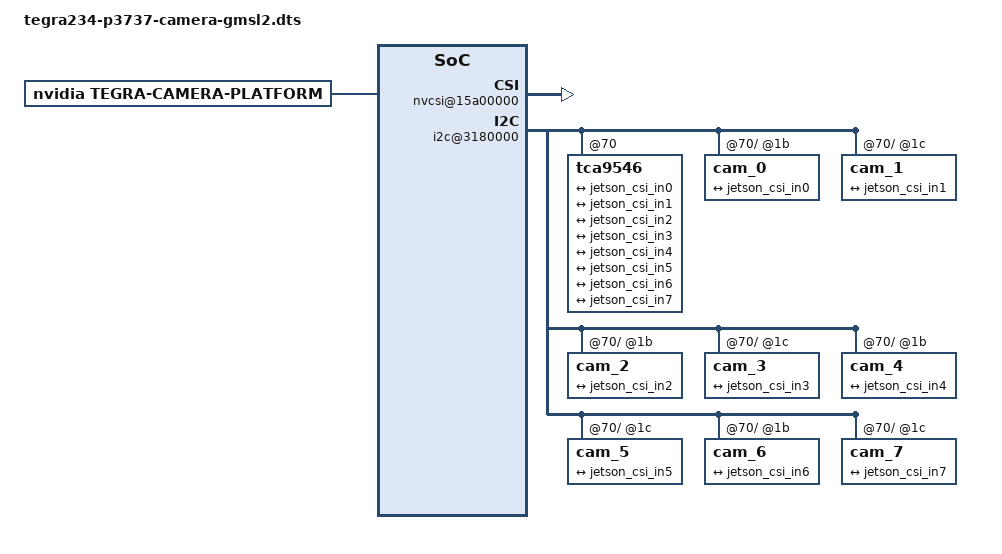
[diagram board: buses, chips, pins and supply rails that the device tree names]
// SPDX-License-Identifier: GPL-2.0-only
// Copyright (c) 2018-2023, NVIDIA CORPORATION & AFFILIATES. All rights reserved.

/dts-v1/;
/plugin/;

#include <dt-bindings/clock/tegra234-clock.h>
#include <dt-bindings/gpio/tegra234-gpio.h>

#define CAM_VDD_SYS_EN	TEGRA234_MAIN_GPIO(AC, 7)
#define DES_0_RESET		TEGRA234_MAIN_GPIO(H, 6)
#define DES_1_RESET		TEGRA234_MAIN_GPIO(H, 3)
#define DES_3_RESET		TEGRA234_MAIN_GPIO(AC, 1)
#define DES_2_RESET		TEGRA234_MAIN_GPIO(AC, 0)
#define CAMERA_I2C_MUX_BUS(x) (0x1E + x)

#define CAM0_RST_L	TEGRA234_MAIN_GPIO(H, 3)

/* camera control gpio definitions */
/ {
	//overlay-name = "Jetson Camera IMX390";
	overlay-name = "Jetson Camera";
	//jetson-header-name = "Jetson AGX CSI Connector";
	compatible = "nvidia,p3737-0000+p3701-0000", "nvidia,p3737-0000+p3701-0004", "nvidia,p3737-0000+p3701-0005";

	fragment@0 {
		target-path = "/";

		__overlay__ {
			tegra-capture-vi {
				num-channels = <8>;
				ports {
					status = "okay";
					#address-cells = <1>;
		        	#size-cells = <0>;
					port@0 {
						status = "okay";
						reg = <0>;
						jetson_vi_in0: endpoint {
							status = "okay";
							vc-id = <1>;
							port-index = <0>;
							bus-width = <4>;
							remote-endpoint = <&jetson_csi_out0>;
						};
					};
					port@1 {
						status = "okay";
						reg = <1>;
						jetson_vi_in1: endpoint {
							status = "okay";
							vc-id = <2>;
							port-index = <0>;
							bus-width = <4>;
							remote-endpoint = <&jetson_csi_out1>;
						};
					};
					port@2 {
						status = "okay";
						reg = <2>;
						jetson_vi_in2: endpoint {
							status = "okay";
							vc-id = <1>;
							port-index = <2>;
							bus-width = <4>;
							remote-endpoint = <&jetson_csi_out2>;
						};
					};
					port@3 {
						status = "okay";
						reg = <3>;
						jetson_vi_in3: endpoint {
							status = "okay";
							vc-id = <2>;
							port-index = <2>;
							bus-width = <4>;
							remote-endpoint = <&jetson_csi_out3>;
						};
					};
					port@4 {
						status = "okay";
						reg = <4>;
						jetson_vi_in4: endpoint {
							status = "okay";
							vc-id = <1>;
							port-index = <4>;
							bus-width = <4>;
							remote-endpoint = <&jetson_csi_out4>;
						};
					};
					port@5 {
						status = "okay";
						reg = <5>;
						jetson_vi_in5: endpoint {
							status = "okay";
							vc-id = <2>;
							port-index = <4>;
							bus-width = <4>;
							remote-endpoint = <&jetson_csi_out5>;
						};
					};
					port@6 {
						status = "okay";
						reg = <6>;
						jetson_vi_in6: endpoint {
							status = "okay";
							vc-id = <1>;
							port-index = <5>;
							bus-width = <4>;
							remote-endpoint = <&jetson_csi_out6>;
						};
					};
					port@7 {
						status = "okay";
						reg = <7>;
						jetson_vi_in7: endpoint {
							status = "okay";
							vc-id = <2>;
							port-index = <5>;
							bus-width = <4>;
							remote-endpoint = <&jetson_csi_out7>;
						};
					};
				};
			};
			bus@0{
				host1x@13e00000 {
					status = "okay";
					nvcsi@15a00000 {
						status = "okay";
						num-channels = <8>;
						#address-cells = <1>;
		        		#size-cells = <0>;
						channel@0 {
							status = "okay";
							reg = <0>;
							ports {
								status = "okay";
								#address-cells = <1>;
								#size-cells = <0>;
								port@0 {
									status = "okay";
									reg = <0>;
									jetson_csi_in0: endpoint@0 {
										status = "okay";
										port-index = <0>;
										bus-width = <4>;
										remote-endpoint = <&sensor_out0>;
									};
								};
								port@1 {
									status = "okay";
									reg = <1>;
									jetson_csi_out0: endpoint@1 {
										status = "okay";
										remote-endpoint = <&jetson_vi_in0>;
									};
								};
							};
						};
						channel@1 {
							status = "okay";
							reg = <1>;
							ports {
								status = "okay";
								#address-cells = <1>;
								#size-cells = <0>;
								port@0 {
									status = "okay";
									reg = <0>;
									jetson_csi_in1: endpoint@2 {
										status = "okay";
										port-index = <0>;
										bus-width = <4>;
										remote-endpoint = <&sensor_out1>;
									};
								};
								port@1 {
									status = "okay";
									reg = <1>;
									jetson_csi_out1: endpoint@3 {
										status = "okay";
										remote-endpoint = <&jetson_vi_in1>;
									};
								};
							};
						};
						channel@2 {
							status = "okay";
							reg = <2>;
							ports {
								status = "okay";
								#address-cells = <1>;
								#size-cells = <0>;
								port@0 {
									status = "okay";
									reg = <0>;
									jetson_csi_in2: endpoint@4 {
										status = "okay";
										port-index = <2>;
										bus-width = <4>;
										remote-endpoint = <&sensor_out2>;
									};
								};
								port@1 {
									status = "okay";
									reg = <1>;
									jetson_csi_out2: endpoint@5 {
										status = "okay";
										remote-endpoint = <&jetson_vi_in2>;
									};
								};
							};
						};
						channel@3 {
							status = "okay";
							reg = <3>;
							ports {
								status = "okay";
								#address-cells = <1>;
								#size-cells = <0>;
								port@0 {
									status = "okay";
									reg = <0>;
									jetson_csi_in3: endpoint@6 {
										status = "okay";
										port-index = <2>;
										bus-width = <4>;
										remote-endpoint = <&sensor_out3>;
									};
								};
								port@1 {
									status = "okay";
									reg = <1>;
									jetson_csi_out3: endpoint@7 {
										status = "okay";
										remote-endpoint = <&jetson_vi_in3>;
									};
								};
							};
						};
						channel@4 {
							status = "okay";
							reg = <4>;
							ports {
								status = "okay";
								#address-cells = <1>;
								#size-cells = <0>;
								port@0 {
									status = "okay";
									reg = <0>;
									jetson_csi_in4: endpoint@8 {
										status = "okay";
										port-index = <4>;
										bus-width = <4>;
										remote-endpoint = <&sensor_out4>;
									};
								};
								port@1 {
									status = "okay";
									reg = <1>;
									jetson_csi_out4: endpoint@9 {
										status = "okay";
										remote-endpoint = <&jetson_vi_in4>;
									};
								};
							};
						};
						channel@5 {
							status = "okay";
							reg = <5>;
							ports {
								status = "okay";
								#address-cells = <1>;
								#size-cells = <0>;
								port@0 {
									status = "okay";
									reg = <0>;
									jetson_csi_in5: endpoint@10 {
										status = "okay";
										port-index = <4>;
										bus-width = <4>;
										remote-endpoint = <&sensor_out5>;
									};
								};
								port@1 {
									status = "okay";
									reg = <1>;
									jetson_csi_out5: endpoint@11 {
										status = "okay";
										remote-endpoint = <&jetson_vi_in5>;
									};
								};
							};
						};
						channel@6 {
							status = "okay";
							reg = <6>;
							ports {
								status = "okay";
								#address-cells = <1>;
								#size-cells = <0>;
								port@0 {
									status = "okay";
									reg = <0>;
									jetson_csi_in6: endpoint@12 {
										status = "okay";
										port-index = <6>;
										bus-width = <4>;
										remote-endpoint = <&sensor_out6>;
									};
								};
								port@1 {
									status = "okay";
									reg = <1>;
									jetson_csi_out6: endpoint@13 {
										status = "okay";
										remote-endpoint = <&jetson_vi_in6>;
									};
								};
							};
						};
						channel@7 {
							status = "okay";
							reg = <7>;
							ports {
								status = "okay";
								#address-cells = <1>;
								#size-cells = <0>;
								port@0 {
									status = "okay";
									reg = <0>;
									jetson_csi_in7: endpoint@14 {
										status = "okay";
										port-index = <6>;
										bus-width = <4>;
										remote-endpoint = <&sensor_out7>;
									};
								};
								port@1 {
									status = "okay";
									reg = <1>;
									jetson_csi_out7: endpoint@15 {
										status = "okay";
										remote-endpoint = <&jetson_vi_in7>;
									};
								};
							};
						};
					};
				};

				i2c@3180000 {
					tca9546@70 {
						status = "okay";
						i2c@0 {
							status = "okay";
							cam_0@1b {
								status = "okay";
								ports {
									status = "okay";
									// #address-cells = <1>;
									// #size-cells = <0>;
									port@0 {
										status = "okay";
										// reg = <0>;
										sensor_out0: endpoint {
											status = "okay";
											// vc-id = <1>;
											// port-index = <0>;
											// bus-width = <4>;
											remote-endpoint = <&jetson_csi_in0>;
										};
									};
								};
								gmsl-link {
									status = "okay";
									// src-csi-port = "b";
									// dst-csi-port = "a";
									// serdes-csi-link = "a";
									// csi-mode = "1x4";
									// st-vc = <0>;
									// vc-id = <1>;
									// num-lanes = <4>;
									// streams = "ued-u1", "raw12";
								};
							};
							cam_1@1c {
								status = "okay";
								ports {
									status = "okay";
									// #address-cells = <1>;
									// #size-cells = <0>;
									port@0 {
										status = "okay";
										// reg = <0>;
										sensor_out1: endpoint {
											status = "okay";
											remote-endpoint = <&jetson_csi_in1>;
										};
									};
								};
								gmsl-link {
									status = "okay";
								};
							};
						};
						i2c@1 {
							cam_2@1b {
								status = "okay";
								ports {
									status = "okay";
									// #address-cells = <1>;
									// #size-cells = <0>;
									port@0 {
										status = "okay";
										// reg = <0>;
										sensor_out2: endpoint {
											status = "okay";
											// vc-id = <1>;
											// port-index = <2>;
											// bus-width = <4>;
											remote-endpoint = <&jetson_csi_in2>;
										};
									};
								};
								gmsl-link {
									status = "okay";
									// src-csi-port = "b";
									// dst-csi-port = "a";
									// serdes-csi-link = "a";
									// csi-mode = "1x4";
									// st-vc = <0>;
									// vc-id = <1>;
									// num-lanes = <4>;
									// streams = "ued-u1", "raw12";
								};
							};
							cam_3@1c {
								status = "okay";
								ports {
									status = "okay";
									// #address-cells = <1>;
									// #size-cells = <0>;
									port@0 {
										status = "okay";
										// reg = <0>;
										sensor_out3: endpoint {
											status = "okay";
											// vc-id = <2>;
											// port-index = <2>;
											// bus-width = <4>;
											remote-endpoint = <&jetson_csi_in3>;
										};
									};
								};
								gmsl-link {
									status = "okay";
									// src-csi-port = "b";
									// dst-csi-port = "a";
									// serdes-csi-link = "b";
									// csi-mode = "1x4";
									// st-vc = <0>;
									// vc-id = <2>;
									// num-lanes = <4>;
									// streams = "ued-u1", "raw12";
								};
							};
						};
						i2c@2 {
							cam_4@1b {
								status = "okay";
								ports {
									status = "okay";
									// #address-cells = <1>;
									// #size-cells = <0>;
									port@0 {
										status = "okay";
										// reg = <0>;
										sensor_out4: endpoint {
											status = "okay";
											// vc-id = <1>;
											// port-index = <4>;
											// bus-width = <4>;
											remote-endpoint = <&jetson_csi_in4>;
										};
									};
								};
								gmsl-link {
									status = "okay";
									// src-csi-port = "b";
									// dst-csi-port = "a";
									// serdes-csi-link = "a";
									// csi-mode = "1x4";
									// st-vc = <0>;
									// vc-id = <1>;
									// num-lanes = <4>;
									// streams = "ued-u1", "raw12";
								};
							};
							cam_5@1c {
								status = "okay";
								ports {
									status = "okay";
									// #address-cells = <1>;
									// #size-cells = <0>;
									port@0 {
										status = "okay";
										// reg = <0>;
										sensor_out5: endpoint {
											status = "okay";
											// vc-id = <2>;
											// port-index = <4>;
											// bus-width = <4>;
											remote-endpoint = <&jetson_csi_in5>;
										};
									};
								};
								gmsl-link {
									status = "okay";
								};
							};
						};
						i2c@3 {
							cam_6@1b {
								status = "okay";
								ports {
									status = "okay";
									// #address-cells = <1>;
									// #size-cells = <0>;
									port@0 {
										status = "okay";
										// reg = <0>;
										sensor_out6: endpoint {
											status = "okay";
											// vc-id = <1>;
											// port-index = <6>;
											// bus-width = <4>;
											remote-endpoint = <&jetson_csi_in6>;
										};
									};
								};
								gmsl-link {
									status = "okay";
								};
							};
							cam_7@1c {
								status = "okay";
								ports {
									status = "okay";
									// #address-cells = <1>;
									// #size-cells = <0>;
									port@0 {
										status = "okay";
										// reg = <0>;
										sensor_out7: endpoint {
											status = "okay";
											// vc-id = <2>;
											// port-index = <6>;
											// bus-width = <4>;
											remote-endpoint = <&jetson_csi_in7>;
										};
									};
								};
								gmsl-link {
									status = "okay";
									// src-csi-port = "b";
									// dst-csi-port = "a";
									// serdes-csi-link = "b";
									// csi-mode = "1x4";
									// st-vc = <0>;
									// vc-id = <2>;
									// num-lanes = <4>;
									// streams = "ued-u1", "raw12";
								};
							};
						};
					};
				};
			};
			tegra-camera-platform {
				compatible = "nvidia, tegra-camera-platform";

				num_csi_lanes = <16>;
				max_lane_speed = <4000000>;
				min_bits_per_pixel = <10>;
				vi_peak_byte_per_pixel = <2>;
				vi_bw_margin_pct = <25>;
				isp_peak_byte_per_pixel = <5>;
				isp_bw_margin_pct = <25>;

				modules {
					status = "okay";
					module0 {
						status = "okay";
						// badge = "cam0_position0";
						// position = "position0";
						badge = "cam0_bottomleft";
						position = "bottomleft";
						orientation = "1";
						drivernode0 {
							status = "okay";
							/* Declare PCL support driver (classically known as guid)  */
							pcl_id = "v4l2_sensor";
							// /* Driver v4l2 device name */
							// devname = "imx390 30-001b";
							/* Declare the device-tree hierarchy to driver instance */
							// proc-device-tree = "/proc/device-tree/bus@0/i2c@3180000/tca9546@70/i2c@0/cam_0@1b";
							/* Declare the device-tree hierarchy to driver instance */
							sysfs-device-tree = "/sys/firmware/devicetree/base/bus@0/i2c@3180000/tca9546@70/i2c@0/cam_0@1b";
						};
					};
					module1 {
						status = "okay";
						// badge = "cam1_position1";
						// position = "position1";
						badge = "cam1_bottomright";
						position = "bottomright";
						orientation = "1";
						drivernode0 {
							status = "okay";
							/* Declare PCL support driver (classically known as guid)  */
							pcl_id = "v4l2_sensor";
							/* Driver v4l2 device name */
							// devname = "imx390 30-001c";
							/* Declare the device-tree hierarchy to driver instance */
							// proc-device-tree = "/proc/device-tree/bus@0/i2c@3180000/tca9546@70/i2c@0/cam_1@1c";
							/* Declare the device-tree hierarchy to driver instance */
							sysfs-device-tree = "/sys/firmware/devicetree/base/bus@0/i2c@3180000/tca9546@70/i2c@0/cam_1@1c";
						};
					};
					module2 {
						status = "okay";
						// badge = "cam2_position2";
						// position = "position2";
						badge = "cam2_centerleft";
						position = "centerleft";
						orientation = "1";
						drivernode0 {
							status = "okay";
							/* Declare PCL support driver (classically known as guid)  */
							pcl_id = "v4l2_sensor";
							// /* Driver v4l2 device name */
							// devname = "imx390 31-001b";
							// /* Declare the device-tree hierarchy to driver instance */
							// // proc-device-tree = "/proc/device-tree/bus@0/i2c@3180000/tca9546@70/i2c@1/cam_2@1b";
							// /* Declare the device-tree hierarchy to driver instance */
							sysfs-device-tree = "/sys/firmware/devicetree/base/bus@0/i2c@3180000/tca9546@70/i2c@1/cam_2@1b";
						};
					};
					module3 {
						status = "okay";
						// badge = "cam3_position3";
						// position = "position3";
						badge = "cam3_centerright";
						position = "centerright";
						orientation = "1";
						drivernode0 {
							status = "okay";
							/* Declare PCL support driver (classically known as guid)  */
							pcl_id = "v4l2_sensor";
							// /* Driver v4l2 device name */
							// devname = "imx390 31-001c";
							// /* Declare the device-tree hierarchy to driver instance */
							// // proc-device-tree = "/proc/device-tree/bus@0/i2c@3180000/tca9546@70/i2c@1/cam_3@1c";
							// /* Declare the device-tree hierarchy to driver instance */
							sysfs-device-tree = "/sys/firmware/devicetree/base/bus@0/i2c@3180000/tca9546@70/i2c@1/cam_3@1c";
						};
					};
					module4 {
						status = "okay";
						// badge = "cam4_position4";
						// position = "position4";
						badge = "cam4_topleft";
						position = "topleft";
						orientation = "1";
						drivernode0 {
							status = "okay";
							/* Declare PCL support driver (classically known as guid)  */
							pcl_id = "v4l2_sensor";
							// /* Driver v4l2 device name */
							// devname = "imx390 32-001b";
							// /* Declare the device-tree hierarchy to driver instance */
							// // proc-device-tree = "/proc/device-tree/bus@0/i2c@3180000/tca9546@70/i2c@2/cam_4@1b";
							// /* Declare the device-tree hierarchy to driver instance */
							sysfs-device-tree = "/sys/firmware/devicetree/base/bus@0/i2c@3180000/tca9546@70/i2c@2/cam_4@1b";
						};
					};
					module5 {
						status = "okay";
						badge = "cam5_topright";
						position = "topright";
						orientation = "1";
						drivernode0 {
							status = "okay";
							/* Declare PCL support driver (classically known as guid)  */
							pcl_id = "v4l2_sensor";
							// /* Driver v4l2 device name */
							// devname = "imx390 32-001c";
							// /* Declare the device-tree hierarchy to driver instance */
							// // proc-device-tree = "/proc/device-tree/bus@0/i2c@3180000/tca9546@70/i2c@2/cam_5@1c";
							// /* Declare the device-tree hierarchy to driver instance */
							sysfs-device-tree = "/sys/firmware/devicetree/base/bus@0/i2c@3180000/tca9546@70/i2c@2/cam_5@1c";
						};
					};
					module6 {
						badge = "cam6_rear";
						position = "rear";
						orientation = "1";
						drivernode0 {
							/* Declare PCL support driver (classically known as guid)  */
							pcl_id = "v4l2_sensor";
							/* Driver v4l2 device name */
							// devname = "imx390 33-001b";
							/* Declare the device-tree hierarchy to driver instance */
							// proc-device-tree = "/proc/device-tree/bus@0/i2c@3180000/tca9546@70/i2c@3/cam_6@1b";
							/* Declare the device-tree hierarchy to driver instance */
							sysfs-device-tree = "/sys/firmware/devicetree/base/bus@0/i2c@3180000/tca9546@70/i2c@3/cam_6@1b";
						};
					};
					module7 {
						badge = "cam7_front";
						position = "front";
						orientation = "1";
						drivernode0 {
							/* Declare PCL support driver (classically known as guid)  */
							pcl_id = "v4l2_sensor";
							/* Driver v4l2 device name */
							// devname = "imx390 33-001c";
							/* Declare the device-tree hierarchy to driver instance */
							//proc-device-tree = "/proc/device-tree/bus@0/i2c@3180000/tca9546@70/i2c@3/cam_7@1c";
							/* Declare the device-tree hierarchy to driver instance */
							sysfs-device-tree = "/sys/firmware/devicetree/base/bus@0/i2c@3180000/tca9546@70/i2c@3/cam_7@1c";
						};
					};
				};
			};
		};
	};
};
